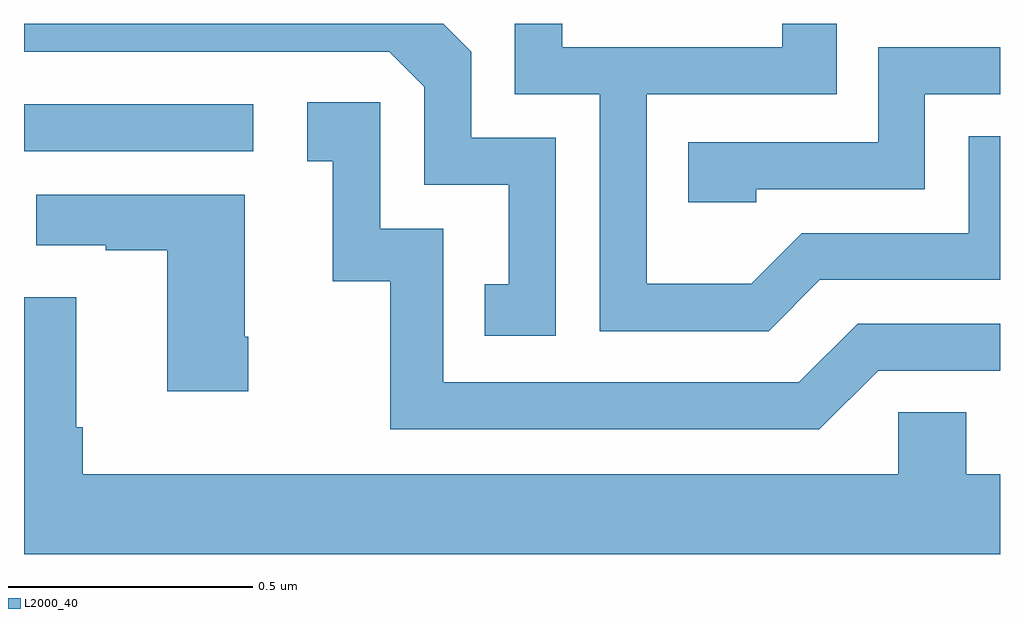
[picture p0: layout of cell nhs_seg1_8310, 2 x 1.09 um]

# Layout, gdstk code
import gdstk
lib = gdstk.Library(unit=1e-6, precision=1e-09)
def R(c, l, rs):  # rectangles x0, y0, x1, y1
    for r in rs: c.add(gdstk.rectangle(r[:2], r[2:], *l))
def P(c, l, *ps):  # polygons
    for p in ps: c.add(gdstk.Polygon(p, *l))
L2000_40 = (2000, 40)

nhs_seg1_8310 = lib.new_cell('nhs_seg1_8310')
R(nhs_seg1_8310, L2000_40, [(215,505.938,215.47,506.034)])
P(nhs_seg1_8310, L2000_40, [(216.09,505.965),(215.916,505.965),(215.916,506.142),(215.859,506.199),(215,506.199),(215,506.142),(215.748,506.142),(215.82,506.07),(215.82,505.869),(215.993,505.869),(215.993,505.665),(215.944,505.665),(215.944,505.56),(216.09,505.56)],
  [(216.631,505.674),(217,505.674),(217,505.969),(216.936,505.969),(216.936,505.77),(216.594,505.77),(216.49,505.666),(216.276,505.666),(216.276,506.055),(216.665,506.055),(216.665,506.199),(216.554,506.199),(216.554,506.151),(216.103,506.151),(216.103,506.199),(216.006,506.199),(216.006,506.055),(216.18,506.055),(216.18,505.569),(216.526,505.569)],
  [(216.501,505.86),(216.846,505.86),(216.846,506.055),(217,506.055),(217,506.151),(216.75,506.151),(216.75,505.956),(216.361,505.956),(216.361,505.833),(216.501,505.833)],
  [(216.75,505.488),(217,505.488),(217,505.584),(216.708,505.584),(216.588,505.464),(215.859,505.464),(215.859,505.779),(215.73,505.779),(215.73,506.038),(215.58,506.038),(215.58,505.917),(215.633,505.917),(215.633,505.671),(215.751,505.671),(215.751,505.368),(216.63,505.368)],
  [(215.46,505.558),(215.452,505.558),(215.452,505.849),(215.025,505.849),(215.025,505.745),(215.168,505.745),(215.168,505.735),(215.294,505.735),(215.294,505.446),(215.46,505.446)],
  [(217,505.276),(216.931,505.276),(216.931,505.403),(216.792,505.403),(216.792,505.276),(215.12,505.276),(215.12,505.372),(215.107,505.372),(215.107,505.639),(215,505.639),(215,505.112),(217,505.112)])

lib.write_gds('nhs_seg1_8310.gds')
